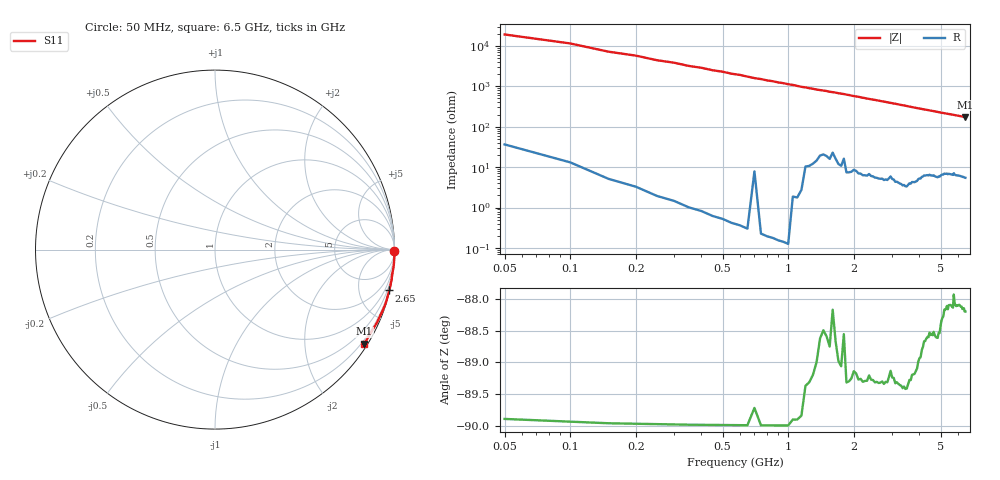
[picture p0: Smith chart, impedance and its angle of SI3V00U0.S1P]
! (c) 1999  Infineon Technologies AG, Munich
! Infineon Technologies  Discrete & RF Semiconductors
! BAT24-02LS
! Si Schottky Diode in TSSLP-2
! VR = 3 V
! S-Parameters:  July  2007
# GHz  S  MA  R  50
!  f  S11
! GHz  MAG  ANG
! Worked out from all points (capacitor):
!   130 points, 50 MHz to 6.5 GHz, reference 50 ohm
!   read as one part to ground: C = 148 fF near 50 MHz
!   lowest |Z| = 173 ohm at 6.5 GHz (marker M1)
!   S11 on the Smith chart (normalised r, x): 50 MHz: open; 2.65 GHz: 0.10, -8.64; 6.5 GHz: 0.11, -3.46
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0.05  1 -0.3
0.6  1 -3.0
0.9  1 -4.6
1.35  0.9979 -6.9
1.6  0.9956 -8.0
1.7  0.9974 -8.5
1.8  0.9961 -8.9
1.85  0.9981 -9.2
2  0.9974 -10.0
2.1  0.9977 -10.4
2.2  0.9977 -11.0
2.5  0.9974 -12.4
2.65  0.9973 -13.2
3.2  0.9968 -15.9
3.3  0.9969 -16.5
3.45  0.997 -17.2
3.85  0.995 -19.4
4.1  0.9927 -20.6
4.5  0.9904 -22.6
4.6  0.9903 -23.0
4.9  0.9894 -24.6
5.05  0.9876 -25.4
5.2  0.9861 -26.0
5.35  0.9852 -26.8
5.7  0.9846 -28.4
5.75  0.9828 -28.6
5.9  0.9839 -29.4
6.5  0.9834 -32.2
